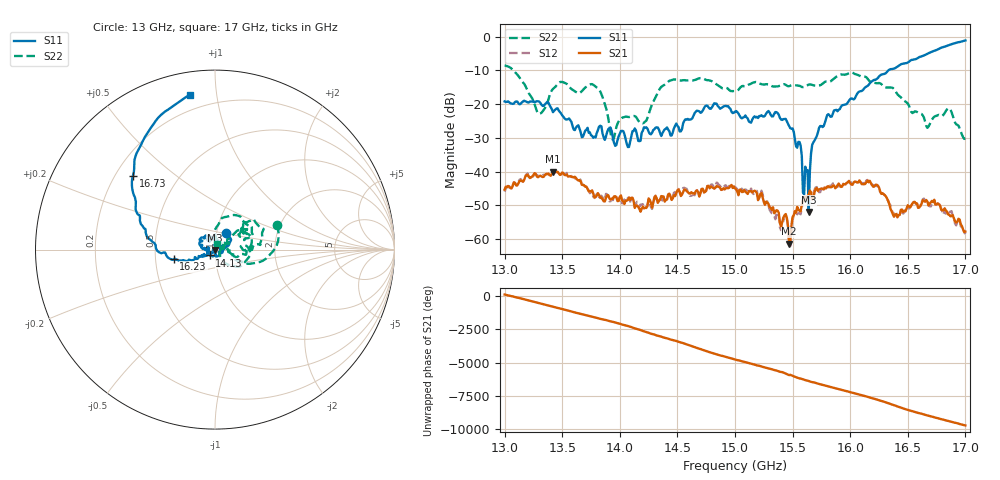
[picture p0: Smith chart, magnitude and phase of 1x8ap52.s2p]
!Keysight Technologies,P9374A,MY57211807,A.19.30.04
!Date: Friday, May 08, 2026 15:00:25
!Correction: S11(C  2-Port  )
!S21(C  2-Port  )
!S12(C  2-Port  )
!S22(C  2-Port  )
!S2P File: Measurements: S11, S21, S12, S22:
# Hz S  dB  R 50
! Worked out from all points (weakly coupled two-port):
!   401 points, 13 GHz to 17 GHz, reference 50 ohm
!   highest |S21| = -40.01 dB at 13.42 GHz (marker M1); lowest = -61.4 dB at 15.47 GHz (marker M2)
!   lowest |S11| = -51.9 dB at 15.64 GHz (marker M3), VSWR 1.01, Z = 50 - j0.253 ohm
!   |S11| at or under -10 dB: start of sweep to 16.33 GHz
!   |S22| runs from -30.6 to -8.6 dB; largest |S21 - S12| = 0.0011
!   S11 on the Smith chart (normalised r, x): 13 GHz: 1.11, +0.21; 14.13 GHz: 0.94, -0.06; 16.23 GHz: 0.62, -0.07; 16.73 GHz: 0.27, +0.36; 17 GHz: 0.12, +0.85
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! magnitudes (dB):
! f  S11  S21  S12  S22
! 13 GHz  -19.2  -45.3  -45.9  -8.6
! 13.3 GHz  -19.2  -41.4  -41.4  -22.9
! 13.42 GHz  -22.4  -40.0  -39.7  -15.5
! 13.67 GHz  -29.8  -43.9  -43.5  -16.2
! 13.82 GHz  -26.7  -46.9  -47.5  -15.7
! 13.94 GHz  -29.9  -48.1  -48.4  -30.6
! 14.13 GHz  -27.2  -50.7  -50.4  -23.6
! 14.22 GHz  -27.0  -50.7  -50.7  -25.2
! 14.34 GHz  -27.6  -48.7  -48.5  -15.9
! 15 GHz  -22.3  -44.9  -44.5  -16.1
! 15.23 GHz  -23.3  -46.3  -45.6  -14.1
! 15.47 GHz  -26.5  -61.4  -60.7  -14.7
! 15.56 GHz  -31.2  -51.6  -52.4  -14.6
! 15.62 GHz  -39.9  -48.3  -48.1  -14.6
! 15.64 GHz  -51.9  -46.7  -47.6  -14.2
! 15.67 GHz  -32.1  -48.2  -47.1  -14.3
! 15.8 GHz  -23.3  -44.4  -44.9  -13.4
! 16.23 GHz  -12.6  -43.9  -44.2  -13.8
! 16.34 GHz  -9.8  -49.7  -49.5  -15.1
! 16.73 GHz  -4.2  -48.3  -48.4  -23.7
! 16.86 GHz  -2.5  -52.7  -52.1  -21.3
! 17 GHz  -1.2  -57.8  -58.5  -30.3
